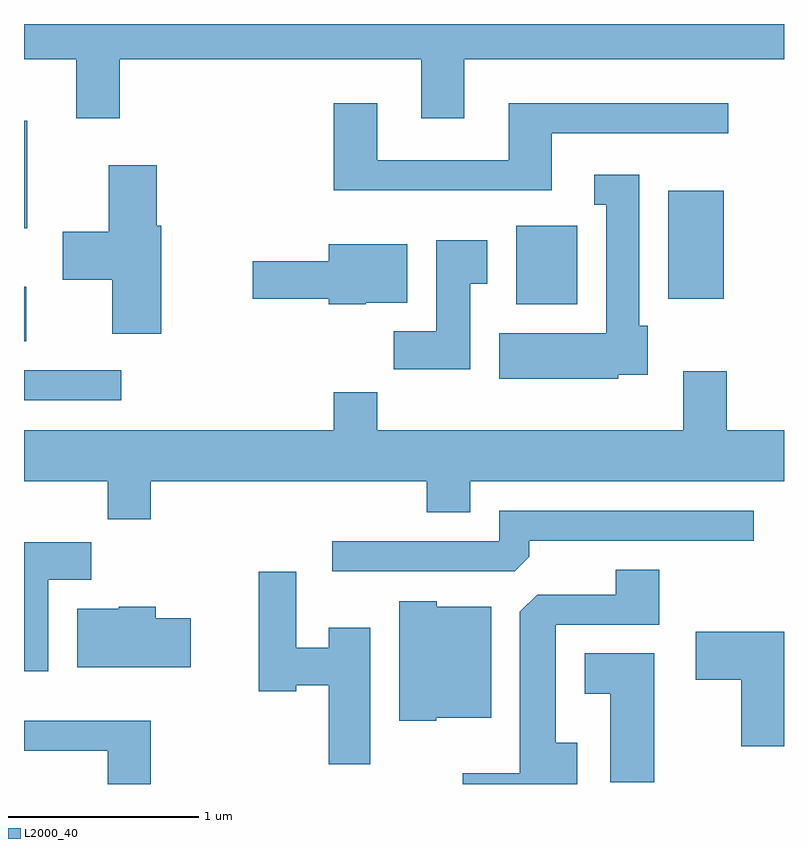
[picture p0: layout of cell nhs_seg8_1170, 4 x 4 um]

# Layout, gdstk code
import gdstk
lib = gdstk.Library(unit=1e-6, precision=1e-09)
def R(c, l, rs):  # rectangles x0, y0, x1, y1
    for r in rs: c.add(gdstk.rectangle(r[:2], r[2:], *l))
def P(c, l, *ps):  # polygons
    for p in ps: c.add(gdstk.Polygon(p, *l))
L2000_40 = (2000, 40)

nhs_seg8_1170 = lib.new_cell('nhs_seg8_1170')
R(nhs_seg8_1170, L2000_40, [(219.611,1872.361,220.123,1872.519), (219.611,1872.671,219.624,1872.959), (222.201,1872.866,222.524,1873.279), (223.001,1872.896,223.294,1873.464), (219.611,1873.266,219.629,1873.834)])
P(nhs_seg8_1170, L2000_40, [(220.114,1874.156),(221.701,1874.156),(221.701,1873.846),(221.929,1873.846),(221.929,1874.156),(223.611,1874.156),(223.611,1874.342),(219.611,1874.342),(219.611,1874.156),(219.886,1874.156),(219.886,1873.846),(220.114,1873.846)],
  [(222.389,1873.766),(223.318,1873.766),(223.318,1873.924),(222.161,1873.924),(222.161,1873.624),(221.469,1873.624),(221.469,1873.924),(221.241,1873.924),(221.241,1873.466),(222.389,1873.466)],
  [(220.334,1873.279),(220.309,1873.279),(220.309,1873.599),(220.056,1873.599),(220.056,1873.249),(219.816,1873.249),(219.816,1872.996),(220.076,1872.996),(220.076,1872.711),(220.334,1872.711)],
  [(222.739,1872.496),(222.894,1872.496),(222.894,1872.754),(222.849,1872.754),(222.849,1873.549),(222.613,1873.549),(222.613,1873.391),(222.676,1873.391),(222.676,1872.714),(222.111,1872.714),(222.111,1872.476),(222.739,1872.476)],
  [(221.959,1872.976),(222.049,1872.976),(222.049,1873.204),(221.781,1873.204),(221.781,1872.724),(221.556,1872.724),(221.556,1872.526),(221.959,1872.526)],
  [(221.41,1872.876),(221.629,1872.876),(221.629,1873.184),(221.216,1873.184),(221.216,1873.094),(220.816,1873.094),(220.816,1872.896),(221.216,1872.896),(221.216,1872.866),(221.41,1872.866)],
  [(221.469,1872.404),(221.241,1872.404),(221.241,1872.204),(219.611,1872.204),(219.611,1871.936),(220.051,1871.936),(220.051,1871.736),(220.279,1871.736),(220.279,1871.936),(221.731,1871.936),(221.731,1871.771),(221.959,1871.771),(221.959,1871.936),(223.611,1871.936),(223.611,1872.204),(223.309,1872.204),(223.309,1872.514),(223.081,1872.514),(223.081,1872.204),(221.469,1872.204)],
  [(222.269,1871.537),(222.269,1871.621),(223.453,1871.621),(223.453,1871.779),(222.111,1871.779),(222.111,1871.619),(221.233,1871.619),(221.233,1871.461),(222.194,1871.461)],
  [(219.739,1871.416),(219.964,1871.416),(219.964,1871.614),(219.611,1871.614),(219.611,1870.936),(219.739,1870.936)],
  [(222.524,1870.559),(222.409,1870.559),(222.409,1871.181),(222.954,1871.181),(222.954,1871.469),(222.726,1871.469),(222.726,1871.339),(222.312,1871.339),(222.221,1871.249),(222.221,1870.399),(221.921,1870.399),(221.921,1870.342),(222.524,1870.342)],
  [(221.434,1871.164),(221.216,1871.164),(221.216,1871.059),(221.044,1871.059),(221.044,1871.459),(220.846,1871.459),(220.846,1870.831),(221.044,1870.831),(221.044,1870.861),(221.216,1870.861),(221.216,1870.446),(221.434,1870.446)],
  [(221.78,1870.691),(222.069,1870.691),(222.069,1871.274),(221.784,1871.274),(221.784,1871.304),(221.586,1871.304),(221.586,1870.676),(221.78,1870.676)],
  [(220.489,1871.214),(220.304,1871.214),(220.304,1871.274),(220.11,1871.274),(220.11,1871.264),(219.891,1871.264),(219.891,1870.956),(220.489,1870.956)],
  [(223.611,1871.144),(223.146,1871.144),(223.146,1870.891),(223.386,1870.891),(223.386,1870.541),(223.611,1870.541)],
  [(222.929,1871.029),(222.561,1871.029),(222.561,1870.816),(222.696,1870.816),(222.696,1870.351),(222.929,1870.351)],
  [(220.279,1870.674),(219.611,1870.674),(219.611,1870.516),(220.051,1870.516),(220.051,1870.342),(220.279,1870.342)])

lib.write_gds('nhs_seg8_1170.gds')
